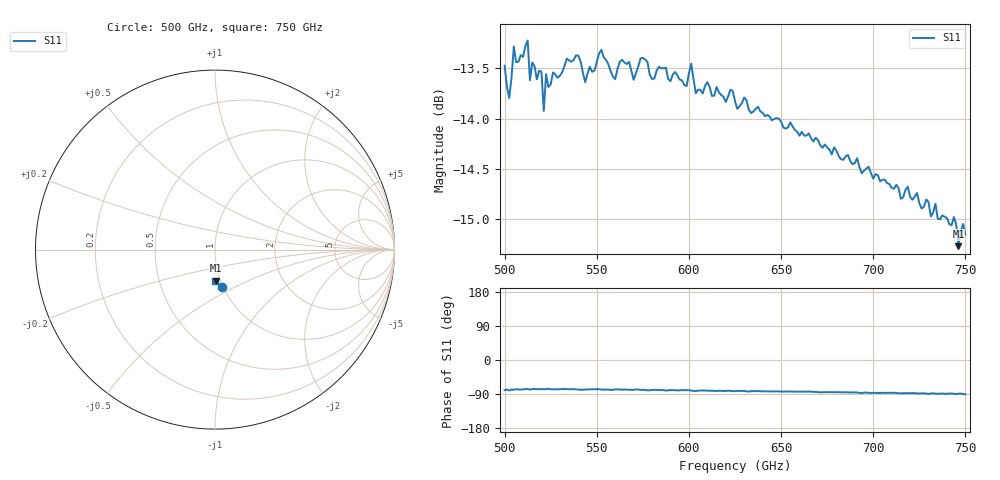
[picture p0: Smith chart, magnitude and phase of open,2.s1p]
!Created with mwavepy.
# GHz S RI R 50.0
!freq	ReS11	ImS11
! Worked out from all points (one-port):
!   201 points, 500 GHz to 750 GHz, reference 50 ohm
!   lowest |S11| = -15.3 dB at 746.2 GHz (marker M1), VSWR 1.42, Z = 47.4 - j16.9 ohm
!   |S11| at or under -10 dB: start of sweep to end of sweep
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500  0.0388 -0.2084
! Port Impedance 50.00000000000000 0.00000000000000
502.5  0.0338 -0.2014
505  0.0425 -0.2124
507.5  0.0457 -0.2079
512.5  0.0519 -0.2119
513.75  0.0426 -0.204
515  0.0495 -0.2069
520  0.0472 -0.2051
521.25  0.046 -0.1959
522.5  0.0466 -0.2047
531.25  0.0489 -0.2046
540  0.0449 -0.2096
543.75  0.0434 -0.2034
552.5  0.045 -0.2111
560  0.0445 -0.2039
562.5  0.0448 -0.2081
593.75  0.0356 -0.2066
598.75  0.0376 -0.2036
601.25  0.0347 -0.2096
603.75  0.0287 -0.2034
625  0.0275 -0.2017
656.25  0.0226 -0.1964
687.5  0.0139 -0.1896
715  0.00646 -0.1819
718.75  0.00658 -0.1844
743.75  0.00341 -0.1782
746.25  0.00341 -0.1724
750  -0.00156 -0.1747
